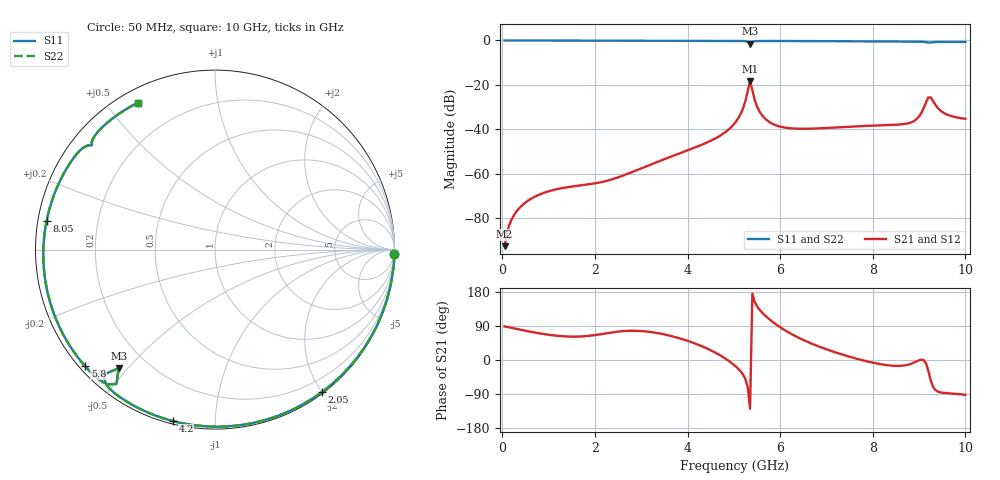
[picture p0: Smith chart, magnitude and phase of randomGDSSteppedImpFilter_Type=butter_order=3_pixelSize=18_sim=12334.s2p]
! freq	dB(S11)	phase(S11)	dB(S12)	phase(S12)
!  dB(S21)	phase(S21)	dB(S22)	phase(S22)
!S-par simulation data
#  GHz  S  DB  R 50
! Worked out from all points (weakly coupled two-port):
!   200 points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, 50 MHz to 10 GHz, reference 50 ohm
!   highest |S21| = -18.42 dB at 5.35 GHz (marker M1); lowest = -92.8 dB at 50 MHz (marker M2)
!   lowest |S11| = -1.4 dB at 5.35 GHz (marker M3), VSWR 12.41, Z = 4.94 - j23.6 ohm
!   |S11| at or under -10 dB: nowhere
!   |S22| runs from -1.4 to 0.0 dB; largest |S21 - S12| = 0
!   S11 on the Smith chart (normalised r, x): 50 MHz: 0, -86; 2.05 GHz: 0.02, -2.00; 4.2 GHz: 0.01, -0.78; 5.8 GHz: 0.02, -0.38; 8.05 GHz: 0.02, +0.08; 10 GHz: 0.05, +0.60
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0.05  -0.00 -1.3  -92.77 88.6  -92.77 88.6  -0.00 -1.3
0.2  -0.01 -5.3  -80.78 84.7  -80.78 84.7  -0.01 -5.3
0.45  -0.02 -11.9  -73.95 78.4  -73.95 78.4  -0.02 -11.9
0.8  -0.03 -21.1  -69.51 70.4  -69.51 70.4  -0.03 -21.1
1.75  -0.06 -45.5  -65.22 62.5  -65.22 62.5  -0.06 -45.5
2.05  -0.07 -53.0  -64.26 66.7  -64.26 66.7  -0.07 -53.0
3.4  -0.11 -85.5  -54.33 70.0  -54.33 70.0  -0.11 -85.5
4.2  -0.14 -103.8  -47.93 41.7  -47.93 41.7  -0.14 -103.8
4.75  -0.17 -116.3  -42.33 9.0  -42.33 9.0  -0.17 -116.3
5.05  -0.20 -123.3  -36.46 -17.9  -36.46 -17.9  -0.20 -123.3
5.2  -0.26 -127.5  -30.56 -38.7  -30.56 -38.7  -0.25 -127.5
5.35  -1.40 -129.1  -18.42 -128.5  -18.42 -128.5  -1.40 -129.1
5.55  -0.26 -131.8  -31.87 133.4  -31.87 133.4  -0.26 -131.8
5.8  -0.24 -138.0  -37.21 104.2  -37.21 104.2  -0.24 -138.0
6.7  -0.30 -158.2  -39.75 42.2  -39.75 42.2  -0.30 -158.2
8.05  -0.43 170.4  -38.37 -8.3  -38.37 -8.3  -0.43 170.4
8.35  -0.46 162.9  -38.14 -14.3  -38.14 -14.3  -0.46 163.0
8.9  -0.54 148.2  -36.20 -6.2  -36.20 -6.2  -0.54 148.3
9.05  -0.60 143.7  -32.63 1.0  -32.63 1.0  -0.60 143.8
9.2  -0.92 139.8  -25.71 -28.3  -25.71 -28.3  -0.92 139.9
9.55  -0.66 131.4  -32.86 -87.0  -32.86 -87.0  -0.65 131.5
10  -0.69 117.6  -35.35 -91.9  -35.35 -91.9  -0.68 117.8
